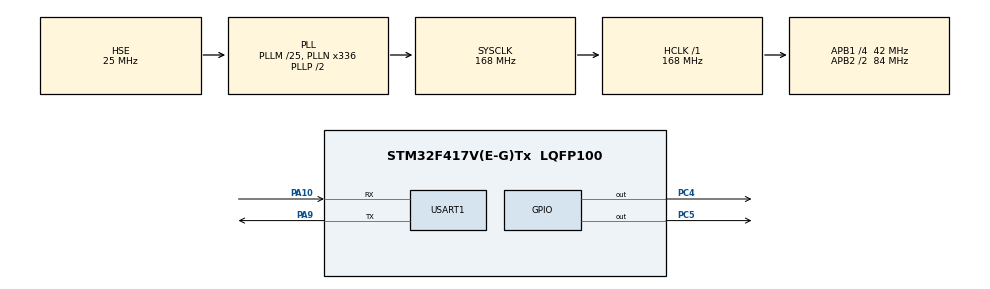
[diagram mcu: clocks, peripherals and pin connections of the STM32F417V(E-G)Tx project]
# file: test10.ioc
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FREERTOS.Tasks01=defaultTask,0,128,StartDefaultTask,Default,NULL,Dynamic,NULL,NULL;AppTaskCreate,-3,128,StartAppTaskCreate,Default,NULL,Dynamic,NULL,NULL
FREERTOS.Timers01=Swtmr1,Swtmr1_Callback,osTimerPeriodic,Default,NULL,Dynamic,NULL;Swtmr2,Swtmr2_Callback,osTimerOnce,Default,NULL,Dynamic,NULL
FREERTOS.configUSE_NEWLIB_REENTRANT=1
FREERTOS.configUSE_TIMERS=1
Mcu.Family=STM32F4
Mcu.Name=STM32F417V(E-G)Tx
Mcu.Package=LQFP100
NVIC.PriorityGroup=NVIC_PRIORITYGROUP_4
NVIC.TIM1_UP_TIM10_IRQn=true\:15\:0\:false\:false\:true\:false\:false\:true\:true
NVIC.TimeBase=TIM1_UP_TIM10_IRQn
NVIC.TimeBaseIP=TIM1
NVIC.USART1_IRQn=true\:5\:0\:false\:false\:true\:true\:true\:true\:true
PA10.Mode=Asynchronous
PA10.Signal=USART1_RX
PA13.Mode=Trace_Synchro_2bits_SW
PA13.Signal=SYS_JTMS-SWDIO
PA14.Mode=Trace_Synchro_2bits_SW
PA14.Signal=SYS_JTCK-SWCLK
PA9.Mode=Asynchronous
PA9.Signal=USART1_TX
PC14-OSC32_IN.Mode=LSE-External-Oscillator
PC14-OSC32_IN.Signal=RCC_OSC32_IN
PC15-OSC32_OUT.Mode=LSE-External-Oscillator
PC15-OSC32_OUT.Signal=RCC_OSC32_OUT
PC4.GPIO_ModeDefaultOutputPP=GPIO_MODE_OUTPUT_PP
PC4.GPIO_PuPd=GPIO_PULLUP
PC4.GPIO_Speed=GPIO_SPEED_FREQ_HIGH
PC4.PinState=GPIO_PIN_SET
PC4.Signal=GPIO_Output
PC5.GPIO_ModeDefaultOutputPP=GPIO_MODE_OUTPUT_PP
PC5.GPIO_PuPd=GPIO_PULLUP
PC5.GPIO_Speed=GPIO_SPEED_FREQ_HIGH
PC5.PinState=GPIO_PIN_SET
PC5.Signal=GPIO_Output
PE2.Mode=Trace_Synchro_2bits_SW
PE2.Signal=SYS_TRACECLK
PE3.Mode=Trace_Synchro_2bits_SW
PE3.Signal=SYS_TRACED0
PE4.Mode=Trace_Synchro_2bits_SW
PE4.Signal=SYS_TRACED1
PH0-OSC_IN.Mode=HSE-External-Oscillator
PH0-OSC_IN.Signal=RCC_OSC_IN
PH1-OSC_OUT.Mode=HSE-External-Oscillator
PH1-OSC_OUT.Signal=RCC_OSC_OUT
ProjectManager.HeapSize=0x200
ProjectManager.StackSize=0x400
ProjectManager.TargetToolchain=STM32CubeIDE
RCC.48MHZClocksFreq_Value=84000000
RCC.AHBFreq_Value=168000000
RCC.APB1CLKDivider=RCC_HCLK_DIV4
RCC.APB1Freq_Value=42000000
RCC.APB1TimFreq_Value=84000000
RCC.APB2CLKDivider=RCC_HCLK_DIV2
RCC.APB2Freq_Value=84000000
RCC.APB2TimFreq_Value=168000000
RCC.CortexFreq_Value=168000000
RCC.HCLKFreq_Value=168000000
RCC.HSE_VALUE=25000000
RCC.HSI_VALUE=16000000
RCC.PLLM=25
RCC.PLLN=336
RCC.PLLSourceVirtual=RCC_PLLSOURCE_HSE
RCC.SYSCLKFreq_VALUE=168000000
RCC.SYSCLKSource=RCC_SYSCLKSOURCE_PLLCLK
RCC.VCOOutputFreq_Value=336000000
USART1.VirtualMode=VM_ASYNC
VP_FREERTOS_VS_CMSIS_V1.Mode=CMSIS_V1
VP_SYS_VS_tim1.Mode=TIM1
board=custom

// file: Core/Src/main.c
/* USER CODE BEGIN Header */
/**
  ******************************************************************************
  * @file           : main.c
  * @brief          : Main program body
  ******************************************************************************
  * @attention
  *
  * Copyright (c) 2022 STMicroelectronics.
  * All rights reserved.
  *
  * This software is licensed under terms that can be found in the LICENSE file
  * in the root directory of this software component.
  * If no LICENSE file comes with this software, it is provided AS-IS.
  *
  ******************************************************************************
  */
/* USER CODE END Header */
#include "main.h"
#include "cmsis_os.h"
#include "usart.h"
#include "gpio.h"

/* USER CODE BEGIN Includes */
#include <stdio.h>	//引用标准库
/* USER CODE END Includes */

void SystemClock_Config(void);
void MX_FREERTOS_Init(void);
/* USER CODE BEGIN PFP */
#ifdef __GNUC__
#define PUTCHAR_PROTOTYPE int __io_putchar(int ch)   //STM32CubeIDE
#else

#define PUTCHAR_PROTOTYPE int fputc(int ch, FILE *f)  //Keil

#endif
PUTCHAR_PROTOTYPE
{
	HAL_UART_Transmit(&huart1, (uint8_t*)&ch, 1, HAL_MAX_DELAY);
	return ch;
}

int _write(int file, char *ptr, int len)
{
	int DataIdx;

	for(DataIdx=0; DataIdx<len; DataIdx++)
	{
		__io_putchar(*ptr++);
	}

	return len;
}
/* USER CODE END PFP */

int main(void)
{

  /* MCU Configuration--------------------------------------------------------*/

  /* Reset of all peripherals, Initializes the Flash interface and the Systick. */
  HAL_Init();

  /* Configure the system clock */
  SystemClock_Config();

  /* Initialize all configured peripherals */
  MX_GPIO_Init();
  MX_USART1_UART_Init();

  /* Call init function for freertos objects (in freertos.c) */
  MX_FREERTOS_Init();

  /* Start scheduler */
  osKernelStart();

  /* We should never get here as control is now taken by the scheduler */
  /* Infinite loop */
  while (1)
  {

  }
}

void SystemClock_Config(void)
{
  RCC_OscInitTypeDef RCC_OscInitStruct = {0};
  RCC_ClkInitTypeDef RCC_ClkInitStruct = {0};

  /** Configure the main internal regulator output voltage
  */
  __HAL_RCC_PWR_CLK_ENABLE();
  __HAL_PWR_VOLTAGESCALING_CONFIG(PWR_REGULATOR_VOLTAGE_SCALE1);

  /** Initializes the RCC Oscillators according to the specified parameters
  * in the RCC_OscInitTypeDef structure.
  */
  RCC_OscInitStruct.OscillatorType = RCC_OSCILLATORTYPE_HSE;
  RCC_OscInitStruct.HSEState = RCC_HSE_ON;
  RCC_OscInitStruct.PLL.PLLState = RCC_PLL_ON;
  RCC_OscInitStruct.PLL.PLLSource = RCC_PLLSOURCE_HSE;
  RCC_OscInitStruct.PLL.PLLM = 25;
  RCC_OscInitStruct.PLL.PLLN = 336;
  RCC_OscInitStruct.PLL.PLLP = RCC_PLLP_DIV2;
  RCC_OscInitStruct.PLL.PLLQ = 4;
  if (HAL_RCC_OscConfig(&RCC_OscInitStruct) != HAL_OK)
  {
    Error_Handler();
  }

  /** Initializes the CPU, AHB and APB buses clocks
  */
  RCC_ClkInitStruct.ClockType = RCC_CLOCKTYPE_HCLK|RCC_CLOCKTYPE_SYSCLK
                              |RCC_CLOCKTYPE_PCLK1|RCC_CLOCKTYPE_PCLK2;
  RCC_ClkInitStruct.SYSCLKSource = RCC_SYSCLKSOURCE_PLLCLK;
  RCC_ClkInitStruct.AHBCLKDivider = RCC_SYSCLK_DIV1;
  RCC_ClkInitStruct.APB1CLKDivider = RCC_HCLK_DIV4;
  RCC_ClkInitStruct.APB2CLKDivider = RCC_HCLK_DIV2;

  if (HAL_RCC_ClockConfig(&RCC_ClkInitStruct, FLASH_LATENCY_5) != HAL_OK)
  {
    Error_Handler();
  }
}

void HAL_TIM_PeriodElapsedCallback(TIM_HandleTypeDef *htim)
{
  if (htim->Instance == TIM1) {
    HAL_IncTick();
  }
}

void Error_Handler(void)
{
  __disable_irq();
  while (1)
  {
  }
}

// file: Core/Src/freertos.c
/* USER CODE BEGIN Header */
/**
  ******************************************************************************
  * File Name          : freertos.c
  * Description        : Code for freertos applications
  ******************************************************************************
  * @attention
  *
  * Copyright (c) 2022 STMicroelectronics.
  * All rights reserved.
  *
  * This software is licensed under terms that can be found in the LICENSE file
  * in the root directory of this software component.
  * If no LICENSE file comes with this software, it is provided AS-IS.
  *
  ******************************************************************************
  */
/* USER CODE END Header */

#include "FreeRTOS.h"
#include "task.h"
#include "main.h"
#include "cmsis_os.h"

/* USER CODE BEGIN Includes */
#include <stdio.h>
/* USER CODE END Includes */

/* USER CODE BEGIN Variables */
static uint32_t TmrCb_Count1 = 0; /* 记录软件定时器 1 回调函数执行次数 */
static uint32_t TmrCb_Count2 = 0; /* 记录软件定时器 2 回调函数执行次数 */
/* USER CODE END Variables */
osThreadId defaultTaskHandle;
osThreadId AppTaskCreateHandle;
osTimerId Swtmr1Handle;
osTimerId Swtmr2Handle;

void StartDefaultTask(void const * argument);
void StartAppTaskCreate(void const * argument);
void Swtmr1_Callback(void const * argument);
void Swtmr2_Callback(void const * argument);

void MX_FREERTOS_Init(void); /* (MISRA C 2004 rule 8.1) */

/* GetIdleTaskMemory prototype (linked to static allocation support) */
void vApplicationGetIdleTaskMemory( StaticTask_t **ppxIdleTaskTCBBuffer, StackType_t **ppxIdleTaskStackBuffer, uint32_t *pulIdleTaskStackSize );

/* GetTimerTaskMemory prototype (linked to static allocation support) */
void vApplicationGetTimerTaskMemory( StaticTask_t **ppxTimerTaskTCBBuffer, StackType_t **ppxTimerTaskStackBuffer, uint32_t *pulTimerTaskStackSize );

/* USER CODE BEGIN GET_IDLE_TASK_MEMORY */
static StaticTask_t xIdleTaskTCBBuffer;
static StackType_t xIdleStack[configMINIMAL_STACK_SIZE];

void vApplicationGetIdleTaskMemory( StaticTask_t **ppxIdleTaskTCBBuffer, StackType_t **ppxIdleTaskStackBuffer, uint32_t *pulIdleTaskStackSize )
{
  *ppxIdleTaskTCBBuffer = &xIdleTaskTCBBuffer;
  *ppxIdleTaskStackBuffer = &xIdleStack[0];
  *pulIdleTaskStackSize = configMINIMAL_STACK_SIZE;
  /* place for user code */
}
/* USER CODE END GET_IDLE_TASK_MEMORY */

/* USER CODE BEGIN GET_TIMER_TASK_MEMORY */
static StaticTask_t xTimerTaskTCBBuffer;
static StackType_t xTimerStack[configTIMER_TASK_STACK_DEPTH];

void vApplicationGetTimerTaskMemory( StaticTask_t **ppxTimerTaskTCBBuffer, StackType_t **ppxTimerTaskStackBuffer, uint32_t *pulTimerTaskStackSize )
{
  *ppxTimerTaskTCBBuffer = &xTimerTaskTCBBuffer;
  *ppxTimerTaskStackBuffer = &xTimerStack[0];
  *pulTimerTaskStackSize = configTIMER_TASK_STACK_DEPTH;
  /* place for user code */
}
/* USER CODE END GET_TIMER_TASK_MEMORY */

void MX_FREERTOS_Init(void) {

  /* Create the timer(s) */
  /* definition and creation of Swtmr1 */
  osTimerDef(Swtmr1, Swtmr1_Callback);
  Swtmr1Handle = osTimerCreate(osTimer(Swtmr1), osTimerPeriodic, NULL);

  /* definition and creation of Swtmr2 */
  osTimerDef(Swtmr2, Swtmr2_Callback);
  Swtmr2Handle = osTimerCreate(osTimer(Swtmr2), osTimerOnce, NULL);

  /* Create the thread(s) */
  /* definition and creation of defaultTask */
  osThreadDef(defaultTask, StartDefaultTask, osPriorityNormal, 0, 128);
  defaultTaskHandle = osThreadCreate(osThread(defaultTask), NULL);

  /* definition and creation of AppTaskCreate */
  osThreadDef(AppTaskCreate, StartAppTaskCreate, osPriorityIdle, 0, 128);
  AppTaskCreateHandle = osThreadCreate(osThread(AppTaskCreate), NULL);

}

void StartDefaultTask(void const * argument)
{
  /* USER CODE BEGIN StartDefaultTask */
  printf("我在循环外\r\n");
  uint8_t count = 0;
  /* Infinite loop */
  for(;;)
  {
    HAL_GPIO_WritePin(GPIOC, GPIO_PIN_4, GPIO_PIN_RESET);
    osDelay(500);
    HAL_GPIO_WritePin(GPIOC, GPIO_PIN_4, GPIO_PIN_SET);
    printf("我在循环内 %d\r\n",(int)count);
    count++;
    osDelay(500);
  }
  /* USER CODE END StartDefaultTask */
}

void StartAppTaskCreate(void const * argument)
{
  /* USER CODE BEGIN StartAppTaskCreate */
  taskENTER_CRITICAL();		//进入临界区

  osTimerStart(Swtmr1Handle, 1000);		//打开软件定时器1
  osTimerStart(Swtmr2Handle, 5000);		//打开软件定时器2

  vTaskDelete(AppTaskCreateHandle); //删除 AppTaskCreate 任务

  taskEXIT_CRITICAL(); //退出临界区
  /* Infinite loop */
  /* USER CODE END StartAppTaskCreate */
}

/* Swtmr1_Callback function */
void Swtmr1_Callback(void const * argument)
{
  /* USER CODE BEGIN Swtmr1_Callback */
	TickType_t tick_num1;
	TmrCb_Count1++;
	tick_num1 = osKernelSysTick();

	printf("swtmr1_callback %d\r\n", (int)TmrCb_Count1);
	printf("tick_num=%d\r\n", (int)tick_num1);
  /* USER CODE END Swtmr1_Callback */
}

/* Swtmr2_Callback function */
void Swtmr2_Callback(void const * argument)
{
  /* USER CODE BEGIN Swtmr2_Callback */
	TickType_t tick_num2;
	TmrCb_Count2++;
	tick_num2 = osKernelSysTick();

	printf("swtmr2_callback %d\r\n", (int)TmrCb_Count2);
	printf("tick_num=%d\r\n", (int)tick_num2);
  /* USER CODE END Swtmr2_Callback */
}
